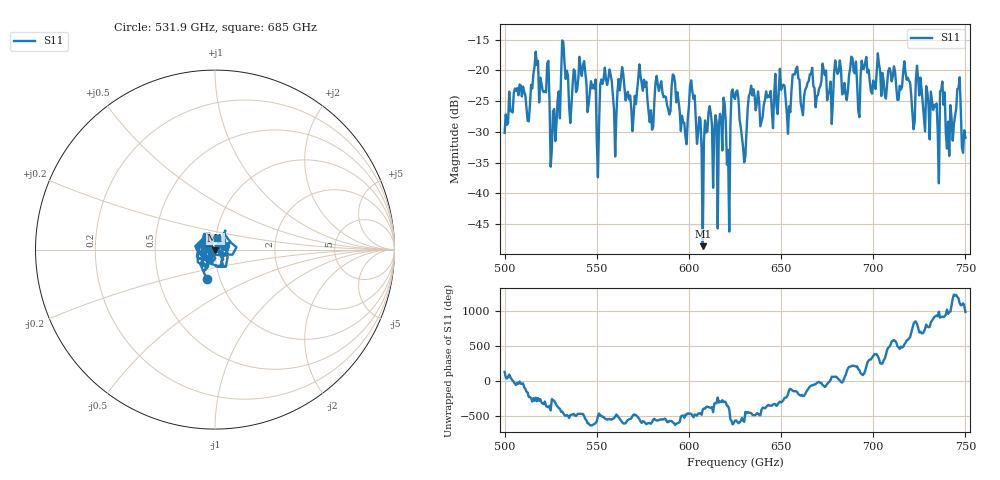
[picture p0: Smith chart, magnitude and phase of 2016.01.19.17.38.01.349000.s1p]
!Created with skrf (http://scikit-rf.org).
# GHz S RI R 50.0
!freq ReS11 ImS11
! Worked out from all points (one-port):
!   401 points, 500 GHz to 750 GHz, reference 50 ohm
!   lowest |S11| = -48.6 dB at 607.5 GHz (marker M1), VSWR 1.01, Z = 50.2 - j0.295 ohm
!   |S11| at or under -10 dB: start of sweep to end of sweep
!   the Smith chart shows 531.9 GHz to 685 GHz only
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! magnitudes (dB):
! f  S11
! 500 GHz  -30.2
! 513.1 GHz  -28.3
! 516.9 GHz  -17.0
! 526.2 GHz  -26.7
! 531.2 GHz  -15.1
! 535.6 GHz  -28.6
! 541.9 GHz  -20.9
! 550 GHz  -31.3
! 553.1 GHz  -22.2
! 560 GHz  -34.0
! 562.5 GHz  -23.3
! 593.8 GHz  -23.6
! 598.1 GHz  -30.9
! 601.9 GHz  -23.5
! 607.5 GHz  -48.6
! 618.1 GHz  -33.1
! 621.2 GHz  -33.0
! 625 GHz  -24.7
! 630 GHz  -35.0
! 633.8 GHz  -22.5
! 656.2 GHz  -20.7
! 687.5 GHz  -19.7
! 718.8 GHz  -21.2
! 734.4 GHz  -25.4
! 737.5 GHz  -21.8
! 740.6 GHz  -28.3
! 746.2 GHz  -22.9
! 750 GHz  -31.0
